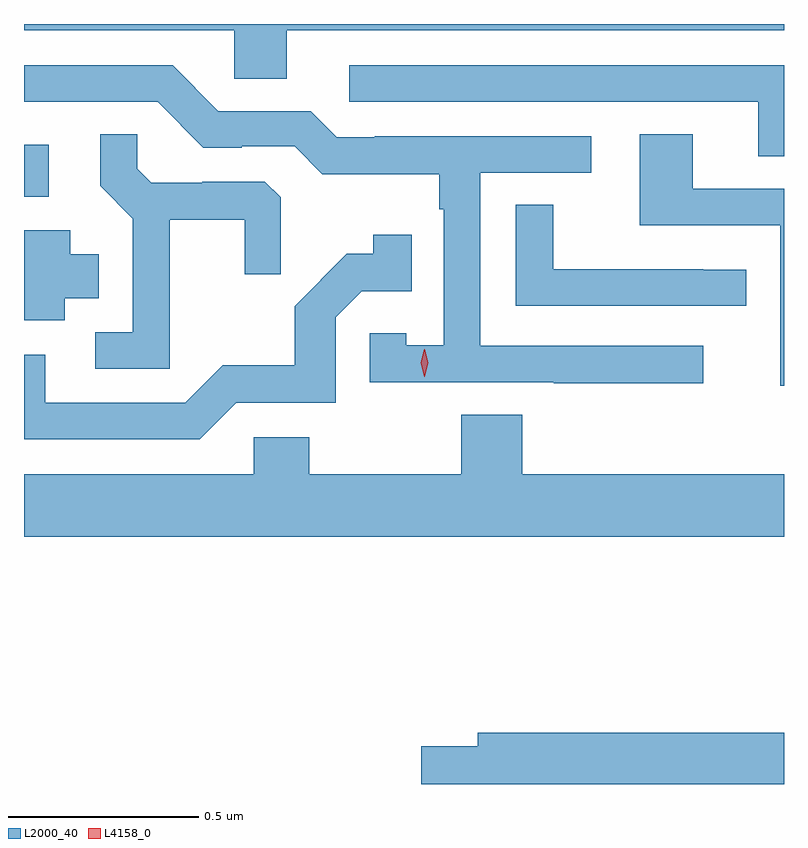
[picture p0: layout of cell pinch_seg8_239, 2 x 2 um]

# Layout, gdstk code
import gdstk
lib = gdstk.Library(unit=1e-6, precision=1e-09)
def R(c, l, rs):  # rectangles x0, y0, x1, y1
    for r in rs: c.add(gdstk.rectangle(r[:2], r[2:], *l))
def P(c, l, *ps):  # polygons
    for p in ps: c.add(gdstk.Polygon(p, *l))
L2000_40 = (2000, 40)
L4158_0 = (4158, 0)

pinch_seg8_239 = lib.new_cell('pinch_seg8_239')
R(pinch_seg8_239, L2000_40, [(636.485,1084.095,636.55,1084.231)])
P(pinch_seg8_239, L2000_40, [(637.177,1084.532),(638.485,1084.532),(638.485,1084.549),(636.485,1084.549),(636.485,1084.532),(637.038,1084.532),(637.038,1084.405),(637.177,1084.405)],
  [(638.485,1084.44),(637.341,1084.44),(637.341,1084.344),(638.417,1084.344),(638.417,1084.201),(638.485,1084.201)],
  [(638.272,1083.702),(637.686,1083.702),(637.686,1084.158),(637.978,1084.158),(637.978,1084.254),(637.408,1084.254),(637.408,1084.251),(637.308,1084.251),(637.239,1084.32),(636.996,1084.32),(636.876,1084.44),(636.485,1084.44),(636.485,1084.344),(636.837,1084.344),(636.957,1084.224),(637.058,1084.224),(637.058,1084.227),(637.197,1084.227),(637.27,1084.154),(637.578,1084.154),(637.578,1084.061),(637.59,1084.061),(637.59,1083.703),(637.491,1083.703),(637.491,1083.735),(637.395,1083.735),(637.395,1083.606),(637.879,1083.606),(637.879,1083.604),(638.272,1083.604)],
  [(638.485,1084.116),(638.245,1084.116),(638.245,1084.259),(638.105,1084.259),(638.105,1084.02),(638.475,1084.02),(638.475,1083.597),(638.485,1083.597)],
  [(636.869,1084.034),(637.066,1084.034),(637.066,1083.891),(637.16,1083.891),(637.16,1084.093),(637.119,1084.134),(636.954,1084.134),(636.954,1084.131),(636.82,1084.131),(636.783,1084.168),(636.783,1084.259),(636.685,1084.259),(636.685,1084.123),(636.771,1084.037),(636.771,1083.738),(636.672,1083.738),(636.672,1083.642),(636.869,1083.642)],
  [(638.386,1083.902),(638.273,1083.902),(638.273,1083.903),(637.878,1083.903),(637.878,1084.073),(637.779,1084.073),(637.779,1083.807),(638.386,1083.807)],
  [(636.592,1083.827),(636.682,1083.827),(636.682,1083.943),(636.607,1083.943),(636.607,1084.006),(636.485,1084.006),(636.485,1083.77),(636.592,1083.77)],
  [(637.044,1083.552),(637.305,1083.552),(637.305,1083.777),(637.374,1083.846),(637.505,1083.846),(637.505,1083.994),(637.404,1083.994),(637.404,1083.944),(637.334,1083.944),(637.197,1083.806),(637.197,1083.651),(637.008,1083.651),(636.909,1083.552),(636.541,1083.552),(636.541,1083.678),(636.485,1083.678),(636.485,1083.456),(636.948,1083.456)],
  [(638.485,1083.364),(637.796,1083.364),(637.796,1083.521),(637.636,1083.521),(637.636,1083.364),(637.236,1083.364),(637.236,1083.462),(637.089,1083.462),(637.089,1083.364),(636.485,1083.364),(636.485,1083.2),(638.485,1083.2)],
  [(638.485,1082.684),(637.679,1082.684),(637.679,1082.648),(637.53,1082.648),(637.53,1082.549),(638.485,1082.549)])
P(pinch_seg8_239, L4158_0, [(637.538,1083.621),(637.529,1083.657),(637.538,1083.693),(637.539,1083.693),(637.539,1083.693),(637.549,1083.657),(637.539,1083.621),(637.539,1083.621)])

lib.write_gds('pinch_seg8_239.gds')
